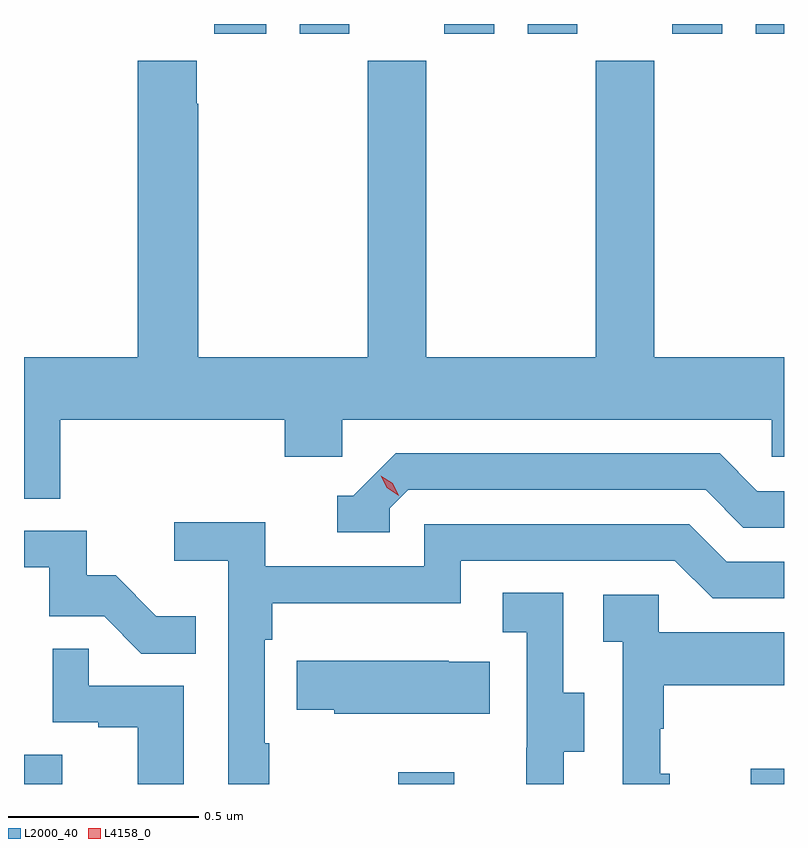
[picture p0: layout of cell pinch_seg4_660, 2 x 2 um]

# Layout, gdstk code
import gdstk
lib = gdstk.Library(unit=1e-6, precision=1e-09)
def R(c, l, rs):  # rectangles x0, y0, x1, y1
    for r in rs: c.add(gdstk.rectangle(r[:2], r[2:], *l))
def P(c, l, *ps):  # polygons
    for p in ps: c.add(gdstk.Polygon(p, *l))
L2000_40 = (2000, 40)
L4158_0 = (4158, 0)

pinch_seg4_660 = lib.new_cell('pinch_seg4_660')
R(pinch_seg4_660, L2000_40, [(1022.427,766.557,1022.527,766.634), (1023.412,766.557,1023.559,766.588), (1024.34,766.557,1024.427,766.597), (1022.927,768.531,1023.064,768.557), (1023.152,768.531,1023.283,768.557), (1023.533,768.531,1023.664,768.557), (1023.752,768.531,1023.883,768.557), (1024.133,768.531,1024.264,768.557), (1024.352,768.531,1024.427,768.557)])
P(pinch_seg4_660, L2000_40, [(1022.522,767.516),(1023.113,767.516),(1023.113,767.418),(1023.264,767.418),(1023.264,767.516),(1024.395,767.516),(1024.395,767.418),(1024.427,767.418),(1024.427,767.68),(1024.086,767.68),(1024.086,768.46),(1023.931,768.46),(1023.931,767.68),(1023.486,767.68),(1023.486,768.46),(1023.331,768.46),(1023.331,767.68),(1022.886,767.68),(1022.886,768.347),(1022.881,768.347),(1022.881,768.46),(1022.726,768.46),(1022.726,767.68),(1022.427,767.68),(1022.427,767.308),(1022.522,767.308)],
  [(1023.39,767.283),(1023.438,767.331),(1024.221,767.331),(1024.32,767.232),(1024.427,767.232),(1024.427,767.328),(1024.357,767.328),(1024.258,767.427),(1023.405,767.427),(1023.294,767.316),(1023.251,767.316),(1023.251,767.22),(1023.39,767.22)],
  [(1023.073,766.664),(1023.06,766.664),(1023.06,766.937),(1023.08,766.937),(1023.08,767.033),(1023.576,767.033),(1023.576,767.145),(1024.14,767.145),(1024.239,767.046),(1024.427,767.046),(1024.427,767.142),(1024.276,767.142),(1024.177,767.241),(1023.48,767.241),(1023.48,767.13),(1023.062,767.13),(1023.062,767.246),(1022.823,767.246),(1022.823,767.144),(1022.964,767.144),(1022.964,766.557),(1023.073,766.557)],
  [(1022.879,766.999),(1022.775,766.999),(1022.668,767.106),(1022.592,767.106),(1022.592,767.223),(1022.427,767.223),(1022.427,767.127),(1022.493,767.127),(1022.493,766.998),(1022.638,766.998),(1022.736,766.9),(1022.879,766.9)],
  [(1023.847,766.642),(1023.901,766.642),(1023.901,766.797),(1023.846,766.797),(1023.846,767.06),(1023.687,767.06),(1023.687,766.957),(1023.75,766.957),(1023.75,766.653),(1023.749,766.653),(1023.749,766.557),(1023.847,766.557)],
  [(1024.126,766.584),(1024.101,766.584),(1024.101,766.703),(1024.111,766.703),(1024.111,766.817),(1024.427,766.817),(1024.427,766.957),(1024.098,766.957),(1024.098,767.055),(1023.951,767.055),(1023.951,766.931),(1024.002,766.931),(1024.002,766.557),(1024.126,766.557)],
  [(1022.848,766.815),(1022.597,766.815),(1022.597,766.913),(1022.502,766.913),(1022.502,766.719),(1022.623,766.719),(1022.623,766.707),(1022.726,766.707),(1022.726,766.557),(1022.848,766.557)],
  [(1023.653,766.879),(1023.545,766.879),(1023.545,766.882),(1023.145,766.882),(1023.145,766.753),(1023.243,766.753),(1023.243,766.742),(1023.653,766.742)])
P(pinch_seg4_660, L4158_0, [(1023.413,767.316),(1023.382,767.336),(1023.366,767.368),(1023.366,767.368),(1023.366,767.368),(1023.397,767.349),(1023.413,767.317),(1023.413,767.316)])

lib.write_gds('pinch_seg4_660.gds')
